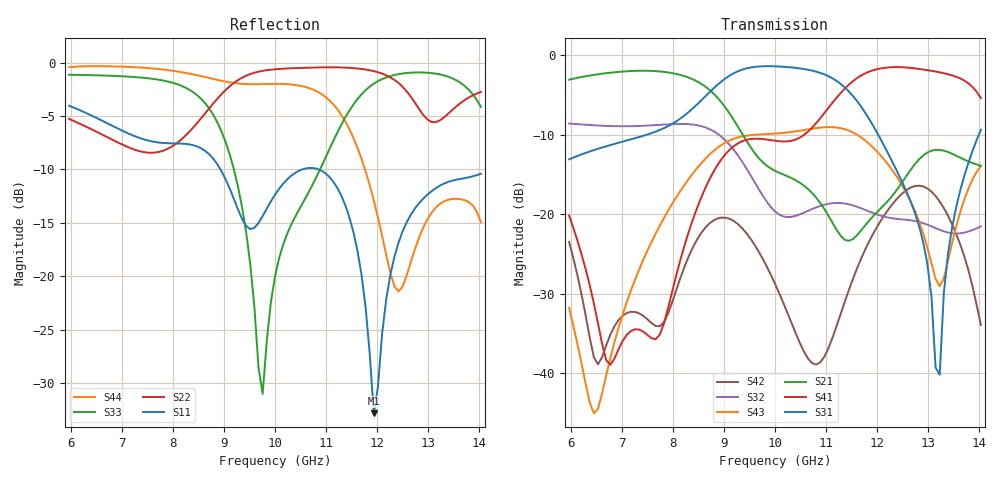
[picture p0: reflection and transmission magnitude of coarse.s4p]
! yapnr rf: filterbank3-x7x10x13, binary design on the optimization grid
! spec sha256 13de688406c8ea8aa5a2983c7d9dfbef6bc7c31cd2b218bfb1531cd97a05cd76
! renormalized to 50 ohm, e^(+jwt) convention
# GHz S RI R 50
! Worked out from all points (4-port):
!   101 points, 5.97 GHz to 14.03 GHz, reference 50 ohm
!   strongest paths, dB at 5.97 GHz, 7.985 GHz, 10 GHz, 12.02 GHz, 14.03 GHz:
!     S31: -13.1, -8.6, -1.4, -9.9, -9.4
!     S41: -20.2, -29.8, -10.7, -1.7, -5.4
!     S21: -3.1, -2.2, -14.5, -19.6, -13.9
!     S43: -31.8, -18.7, -9.8, -12.2, -13.9
!     S32: -8.6, -8.7, -19.6, -20.1, -21.5
!     S42: -23.5, -31.1, -28.7, -21.4, -33.9
!   lowest |S11| = -32.9 dB at 11.93 GHz (marker M1), VSWR 1.05, Z = 48.8 - j1.89 ohm
!   |S11| at or under -10 dB: 8.931 GHz to 10.54 GHz (1.607 GHz wide, 16.5 % of centre); 10.85 GHz to end of sweep
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5.97  0.5393 -0.3221  -0.0279 0.7006  -0.1902 0.1138  0.0759 -0.0611
      -0.0261 0.7025  0.3851 0.3855  0.2342 0.2977  -0.0498 0.0371
      -0.1915 0.1118  0.2307 0.2921  -0.151 -0.8636  -0.00461 -0.0302
      0.075 -0.0633  -0.057 0.0352  -0.00899 -0.0241  -0.8655 0.3963
7.8238  -0.147 -0.3935  0.6704 -0.4181  0.0071 0.3407  -0.00127 0.0222
        0.6648 -0.422  -0.1643 -0.3512  0.0926 -0.3539  -0.0116 -0.0252
        9.26e-05 0.3481  0.0868 -0.3564  -0.7725 -0.2838  -0.1066 -0.0126
        -0.00224 0.0203  -0.00374 -0.0206  -0.0934 -0.0129  0.9253 0.0565
8.6298  -0.3561 -0.1503  -0.0831 -0.6354  0.2595 0.4678  0.0171 0.1409
        -0.085 -0.6328  -0.5691 0.0963  -0.308 -0.1561  -0.0693 -0.0386
        0.2651 0.4817  -0.3186 -0.1518  -0.6078 0.2202  -0.0591 0.2206
        0.0122 0.1442  -0.0712 -0.0406  -0.0572 0.2149  -0.021 -0.8561
9.7582  -0.1911 -0.00222  -0.1907 -0.0758  0.7804 -0.3132  0.293 -0.0701
        -0.1987 -0.0762  0.2096 0.8905  0.0738 0.1053  0.0267 0.0436
        0.7926 -0.3187  0.0787 0.1052  0.027 -0.00775  0.2961 -0.1422
        0.2885 -0.073  0.0347 0.0395  0.2842 -0.1444  -0.7412 0.2828
11.9344  -0.012 -0.0193  -0.1003 -0.0173  -0.3493 0.0767  -0.633 -0.5203
         -0.0954 -0.0234  0.5266 -0.7446  -0.0663 0.0426  -0.0599 0.0469
         -0.3464 0.077  -0.0886 0.0495  -0.4179 -0.6786  -0.1238 0.2256
         -0.6212 -0.5179  -0.0528 0.0558  -0.0934 0.243  0.2223 0.0394
13.224  0.2475 -0.0948  -0.1608 0.2027  0.00872 0.00668  -0.2351 0.7534
        -0.1532 0.2028  -0.0609 0.5321  0.0685 -0.00796  0.0757 -0.0961
        0.00368 -0.00905  0.0791 -0.0106  -0.8808 -0.0129  -0.0137 0.0374
        -0.2388 0.7448  0.0684 -0.099  0.0133 0.0326  0.0656 0.2073
14.03  -0.1611 -0.2549  0.052 0.1968  -0.1625 -0.2943  0.4796 0.2478
       0.0461 0.1966  0.7272 -0.0512  0.00362 -0.0992  -0.00152 -0.0249
       -0.1679 -0.2962  -0.0156 -0.0825  -0.3928 0.4802  0.0831 0.1767
       0.4843 0.2352  -0.00799 -0.0185  0.1044 0.172  0.1288 0.1245
